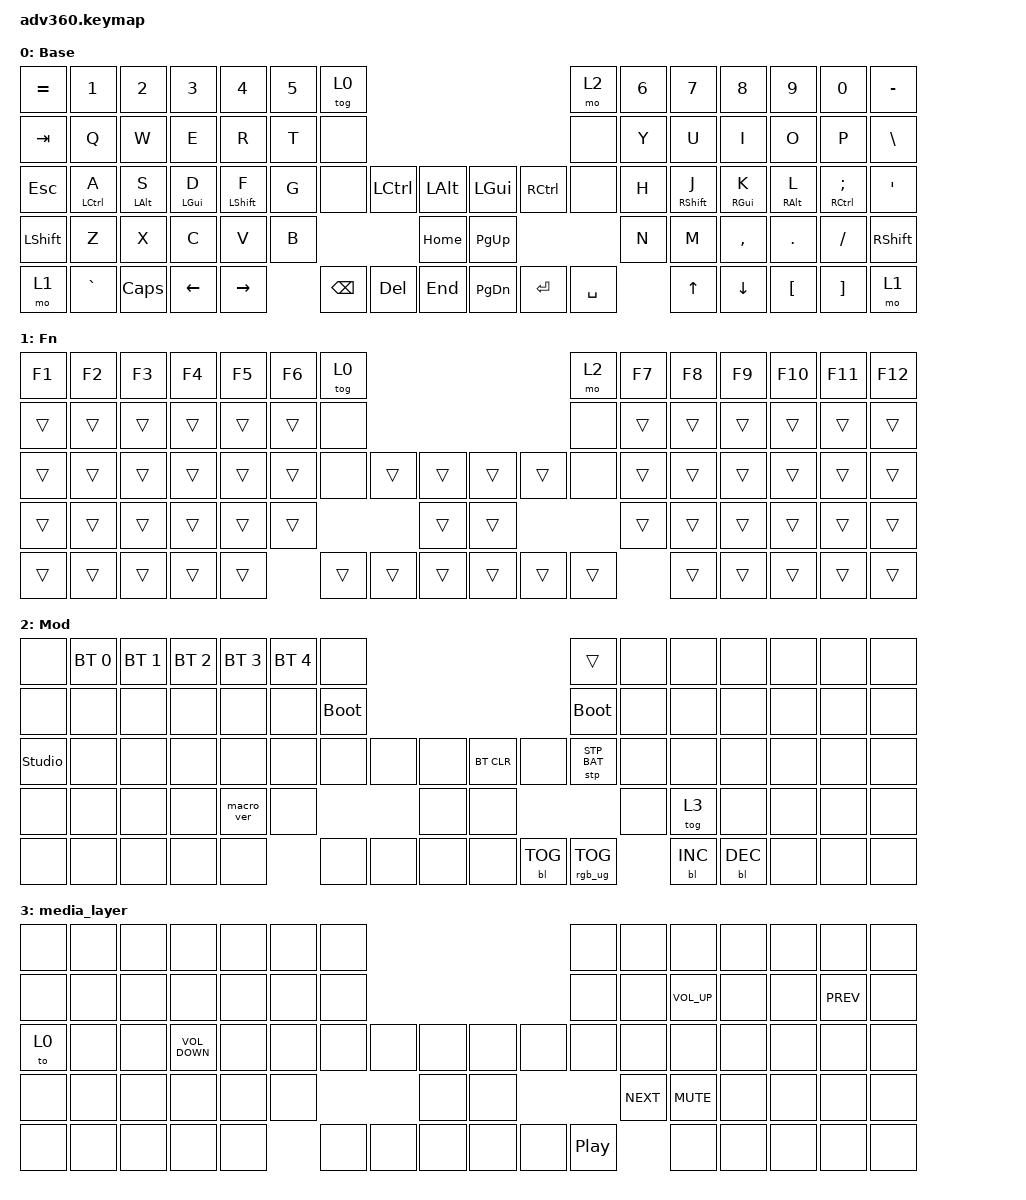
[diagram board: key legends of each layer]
#include <dt-bindings/zmk/stp.h>
#include <behaviors.dtsi>
#include <dt-bindings/zmk/backlight.h>
#include <dt-bindings/zmk/bt.h>
#include <dt-bindings/zmk/keys.h>
#include <dt-bindings/zmk/rgb.h>

// Key positions, see assets/key-positions.md
#define KEYS_L   0  1  2  3  4  5  6 \
                14 15 16 17 18 19 20 \
                28 29 30 31 32 33 34 \
                46 47 48 49 50 51    \
                60 61 62 63 64

#define THUMBS_LEFT     35 36 \
                           52 \
                     65 66 67

#define KEYS_R   7  8  9 10 11 12 13 \
                21 22 23 24 25 26 27 \
                39 40 41 42 43 44 45 \
                   54 55 56 57 58 59 \
                      71 72 73 74 75

#define THUMBS_RIGHT 37 38    \
                     53       \
                     68 69 70

/ {
    behaviors {
        #include "macros.dtsi"
      #include "version.dtsi"

        // Home row mods. Left-hand mods only activate when a right-hand key
        // (or thumb) is pressed during the hold, and vice versa, so same-hand
        // rolls never misfire as modifiers.
        hml: homerow_mods_left {
            compatible = "zmk,behavior-hold-tap";
            label = "HOMEROW_MODS_LEFT";
            #binding-cells = <2>;
            tapping-term-ms = <280>;
            quick-tap-ms = <175>;
            require-prior-idle-ms = <150>;
            flavor = "balanced";
            bindings = <&kp>, <&kp>;
            hold-trigger-key-positions = <KEYS_R THUMBS_LEFT THUMBS_RIGHT>;
            hold-trigger-on-release;
        };

        hmr: homerow_mods_right {
            compatible = "zmk,behavior-hold-tap";
            label = "HOMEROW_MODS_RIGHT";
            #binding-cells = <2>;
            tapping-term-ms = <280>;
            quick-tap-ms = <175>;
            require-prior-idle-ms = <150>;
            flavor = "balanced";
            bindings = <&kp>, <&kp>;
            hold-trigger-key-positions = <KEYS_L THUMBS_LEFT THUMBS_RIGHT>;
            hold-trigger-on-release;
        };
    };

    keymap {
        compatible = "zmk,keymap";

        default_layer {
            display-name = "Base";
            bindings = <
&kp EQUAL  &kp N1     &kp N2    &kp N3    &kp N4     &kp N5  &tog 0                                                   &mo 2      &kp N6  &kp N7  &kp N8     &kp N9    &kp N0    &kp MINUS
&kp TAB    &kp Q      &kp W     &kp E     &kp R      &kp T   &none                                                    &none      &kp Y   &kp U   &kp I      &kp O     &kp P     &kp BSLH
&kp ESC    &hml LCTRL A  &hml LALT S  &hml LGUI D  &hml LSHFT F  &kp G   &none     &kp LCTRL  &kp LALT      &kp LGUI   &kp RCTRL  &none      &kp H   &hmr RSHFT J  &hmr RGUI K  &hmr RALT L  &hmr RCTRL SEMI  &kp SQT
&kp LSHFT  &kp Z      &kp X     &kp C     &kp V      &kp B                        &kp HOME      &kp PG_UP                        &kp N   &kp M   &kp COMMA  &kp DOT   &kp FSLH  &kp RSHFT
&mo 1      &kp GRAVE  &kp CAPS  &kp LEFT  &kp RIGHT          &kp BSPC  &kp DEL    &kp END       &kp PG_DN  &kp ENTER  &kp SPACE          &kp UP  &kp DOWN   &kp LBKT  &kp RBKT  &mo 1
            >;
        };

        fn {
            display-name = "Fn";
            bindings = <
&kp F1  &kp F2  &kp F3  &kp F4  &kp F5  &kp F6  &tog 0                                      &mo 2   &kp F7  &kp F8  &kp F9  &kp F10  &kp F11  &kp F12
&trans  &trans  &trans  &trans  &trans  &trans  &none                                       &none   &trans  &trans  &trans  &trans   &trans   &trans
&trans  &trans  &trans  &trans  &trans  &trans  &none   &trans  &trans      &trans  &trans  &none   &trans  &trans  &trans  &trans   &trans   &trans
&trans  &trans  &trans  &trans  &trans  &trans                  &trans      &trans                  &trans  &trans  &trans  &trans   &trans   &trans
&trans  &trans  &trans  &trans  &trans          &trans  &trans  &trans      &trans  &trans  &trans          &trans  &trans  &trans   &trans   &trans
            >;
        };

        mod {
            display-name = "Mod";
            bindings = <
&none           &bt BT_SEL 0  &bt BT_SEL 1  &bt BT_SEL 2  &bt BT_SEL 3  &bt BT_SEL 4  &none                                                  &trans           &none  &none       &none       &none  &none  &none
&none           &none         &none         &none         &none         &none         &bootloader                                            &bootloader      &none  &none       &none       &none  &none  &none
&studio_unlock  &none         &none         &none         &none         &none         &none        &none  &none      &bt BT_CLR  &none       &stp STP_BAT     &none  &none       &none       &none  &none  &none
&none           &none         &none         &none         &macro_ver    &none                             &none      &none                                    &none  &tog 3      &none       &none  &none  &none
&none           &none         &none         &none         &none                       &none        &none  &none      &none       &bl BL_TOG  &rgb_ug RGB_TOG         &bl BL_INC  &bl BL_DEC  &none  &none  &none
            >;
        };

        media_layer {
            bindings = <
&none  &none  &none  &none              &none  &none  &none                                  &none             &none       &none            &none  &none  &none       &none
&none  &none  &none  &none              &none  &none  &none                                  &none             &none       &kp C_VOLUME_UP  &none  &none  &kp C_PREV  &none
&to 0  &none  &none  &kp C_VOLUME_DOWN  &none  &none  &none  &none  &none      &none  &none  &none             &none       &none            &none  &none  &none       &none
&none  &none  &none  &none              &none  &none                &none      &none                           &kp C_NEXT  &kp C_MUTE       &none  &none  &none       &none
&none  &none  &none  &none              &none         &none  &none  &none      &none  &none  &kp C_PLAY_PAUSE              &none            &none  &none  &none       &none
            >;
        };
    };
};
